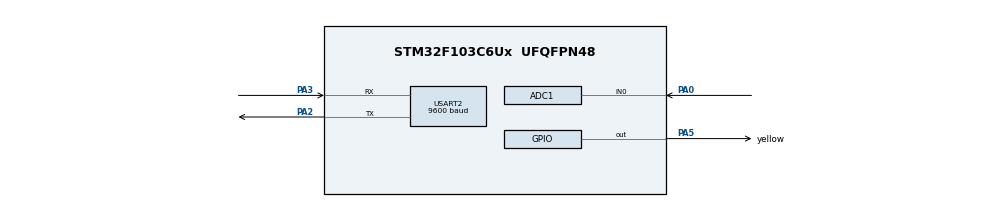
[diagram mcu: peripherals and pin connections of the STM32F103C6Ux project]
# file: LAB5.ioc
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ADC1.Channel-0\#ChannelRegularConversion=ADC_CHANNEL_0
ADC1.ContinuousConvMode=ENABLE
ADC1.NbrOfConversionFlag=1
ADC1.Rank-0\#ChannelRegularConversion=1
ADC1.SamplingTime-0\#ChannelRegularConversion=ADC_SAMPLETIME_1CYCLE_5
ADC1.master=1
Mcu.Family=STM32F1
Mcu.Name=STM32F103C6Ux
Mcu.Package=UFQFPN48
NVIC.PriorityGroup=NVIC_PRIORITYGROUP_4
NVIC.TIM2_IRQn=true\:0\:0\:false\:false\:true\:true\:true
NVIC.USART2_IRQn=true\:0\:0\:false\:false\:true\:true\:true
PA0-WKUP.Signal=ADCx_IN0
PA2.Mode=Asynchronous
PA2.Signal=USART2_TX
PA3.Mode=Asynchronous
PA3.Signal=USART2_RX
PA5.GPIO_Label=yellow
PA5.Signal=GPIO_Output
ProjectManager.HeapSize=0x200
ProjectManager.StackSize=0x400
ProjectManager.TargetToolchain=STM32CubeIDE
RCC.APB1Freq_Value=8000000
RCC.APB2Freq_Value=8000000
SH.ADCx_IN0.0=ADC1_IN0,IN0
TIM2.Period=9
TIM2.Prescaler=7999
USART2.BaudRate=9600
USART2.VirtualMode=VM_ASYNC
VP_SYS_VS_ND.Mode=No_Debug
VP_TIM2_VS_ClockSourceINT.Mode=Internal
board=custom

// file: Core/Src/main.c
/* USER CODE BEGIN Header */
/**
  ******************************************************************************
  * @file           : main.c
  * @brief          : Main program body
  ******************************************************************************
  * @attention
  *
  * <h2><center>&copy; Copyright (c) 2023 STMicroelectronics.
  * All rights reserved.</center></h2>
  *
  * This software component is licensed by ST under BSD 3-Clause license,
  * the "License"; You may not use this file except in compliance with the
  * License. You may obtain a copy of the License at:
  *                        opensource.org/licenses/BSD-3-Clause
  *
  ******************************************************************************
  */
/* USER CODE END Header */
#include "main.h"

/* USER CODE BEGIN Includes */
#include "fsm.h"
#include "software_timer.h"
/* USER CODE END Includes */

ADC_HandleTypeDef hadc1;

TIM_HandleTypeDef htim2;

UART_HandleTypeDef huart2;

void SystemClock_Config(void);
static void MX_GPIO_Init(void);
static void MX_ADC1_Init(void);
static void MX_USART2_UART_Init(void);
static void MX_TIM2_Init(void);

/* USER CODE BEGIN 0 */

void HAL_UART_RxCpltCallback(UART_HandleTypeDef *huart){
	if(huart->Instance == USART2){
		HAL_UART_Transmit(&huart2, &temp, 1, 500);
		buffer[index_buffer++] = temp;
		if(index_buffer == MAX_BUFFER_SIZE) index_buffer = 0;
		buffer_flag= 1;
		HAL_UART_Receive_IT(&huart2, &temp, 1);
	}
}
/* USER CODE END 0 */

int main(void)
{

  /* MCU Configuration--------------------------------------------------------*/

  /* Reset of all peripherals, Initializes the Flash interface and the Systick. */
  HAL_Init();

  /* Configure the system clock */
  SystemClock_Config();

  /* Initialize all configured peripherals */
  MX_GPIO_Init();
  MX_ADC1_Init();
  MX_USART2_UART_Init();
  MX_TIM2_Init();
  /* USER CODE BEGIN 2 */
  HAL_TIM_Base_Start_IT (&htim2);
  HAL_UART_Receive_IT(&huart2, &temp, 1);
  HAL_ADC_Start(&hadc1);
  /* USER CODE END 2 */

  /* Infinite loop */
  /* USER CODE BEGIN WHILE */
  while (1)
  {
	  if(buffer_flag == 1){
		  HAL_GPIO_TogglePin(yellow_GPIO_Port, yellow_Pin);
		  command_parser_fsm(&hadc1,&huart2);
		  buffer_flag = 0;
	  }
	  uart_communication_fsm(&hadc1,&huart2);
    /* USER CODE END WHILE */

  }
}

void SystemClock_Config(void)
{
  RCC_OscInitTypeDef RCC_OscInitStruct = {0};
  RCC_ClkInitTypeDef RCC_ClkInitStruct = {0};
  RCC_PeriphCLKInitTypeDef PeriphClkInit = {0};

  /** Initializes the RCC Oscillators according to the specified parameters
  * in the RCC_OscInitTypeDef structure.
  */
  RCC_OscInitStruct.OscillatorType = RCC_OSCILLATORTYPE_HSI;
  RCC_OscInitStruct.HSIState = RCC_HSI_ON;
  RCC_OscInitStruct.HSICalibrationValue = RCC_HSICALIBRATION_DEFAULT;
  RCC_OscInitStruct.PLL.PLLState = RCC_PLL_NONE;
  if (HAL_RCC_OscConfig(&RCC_OscInitStruct) != HAL_OK)
  {
    Error_Handler();
  }
  /** Initializes the CPU, AHB and APB buses clocks
  */
  RCC_ClkInitStruct.ClockType = RCC_CLOCKTYPE_HCLK|RCC_CLOCKTYPE_SYSCLK
                              |RCC_CLOCKTYPE_PCLK1|RCC_CLOCKTYPE_PCLK2;
  RCC_ClkInitStruct.SYSCLKSource = RCC_SYSCLKSOURCE_HSI;
  RCC_ClkInitStruct.AHBCLKDivider = RCC_SYSCLK_DIV1;
  RCC_ClkInitStruct.APB1CLKDivider = RCC_HCLK_DIV1;
  RCC_ClkInitStruct.APB2CLKDivider = RCC_HCLK_DIV1;

  if (HAL_RCC_ClockConfig(&RCC_ClkInitStruct, FLASH_LATENCY_0) != HAL_OK)
  {
    Error_Handler();
  }
  PeriphClkInit.PeriphClockSelection = RCC_PERIPHCLK_ADC;
  PeriphClkInit.AdcClockSelection = RCC_ADCPCLK2_DIV2;
  if (HAL_RCCEx_PeriphCLKConfig(&PeriphClkInit) != HAL_OK)
  {
    Error_Handler();
  }
}

static void MX_ADC1_Init(void)
{

  ADC_ChannelConfTypeDef sConfig = {0};

  /** Common config
  */
  hadc1.Instance = ADC1;
  hadc1.Init.ScanConvMode = ADC_SCAN_DISABLE;
  hadc1.Init.ContinuousConvMode = ENABLE;
  hadc1.Init.DiscontinuousConvMode = DISABLE;
  hadc1.Init.ExternalTrigConv = ADC_SOFTWARE_START;
  hadc1.Init.DataAlign = ADC_DATAALIGN_RIGHT;
  hadc1.Init.NbrOfConversion = 1;
  if (HAL_ADC_Init(&hadc1) != HAL_OK)
  {
    Error_Handler();
  }
  /** Configure Regular Channel
  */
  sConfig.Channel = ADC_CHANNEL_0;
  sConfig.Rank = ADC_REGULAR_RANK_1;
  sConfig.SamplingTime = ADC_SAMPLETIME_1CYCLE_5;
  if (HAL_ADC_ConfigChannel(&hadc1, &sConfig) != HAL_OK)
  {
    Error_Handler();
  }

}

static void MX_TIM2_Init(void)
{

  TIM_ClockConfigTypeDef sClockSourceConfig = {0};
  TIM_MasterConfigTypeDef sMasterConfig = {0};

  htim2.Instance = TIM2;
  htim2.Init.Prescaler = 7999;
  htim2.Init.CounterMode = TIM_COUNTERMODE_UP;
  htim2.Init.Period = 9;
  htim2.Init.ClockDivision = TIM_CLOCKDIVISION_DIV1;
  htim2.Init.AutoReloadPreload = TIM_AUTORELOAD_PRELOAD_DISABLE;
  if (HAL_TIM_Base_Init(&htim2) != HAL_OK)
  {
    Error_Handler();
  }
  sClockSourceConfig.ClockSource = TIM_CLOCKSOURCE_INTERNAL;
  if (HAL_TIM_ConfigClockSource(&htim2, &sClockSourceConfig) != HAL_OK)
  {
    Error_Handler();
  }
  sMasterConfig.MasterOutputTrigger = TIM_TRGO_RESET;
  sMasterConfig.MasterSlaveMode = TIM_MASTERSLAVEMODE_DISABLE;
  if (HAL_TIMEx_MasterConfigSynchronization(&htim2, &sMasterConfig) != HAL_OK)
  {
    Error_Handler();
  }

}

static void MX_USART2_UART_Init(void)
{

  huart2.Instance = USART2;
  huart2.Init.BaudRate = 9600;
  huart2.Init.WordLength = UART_WORDLENGTH_8B;
  huart2.Init.StopBits = UART_STOPBITS_1;
  huart2.Init.Parity = UART_PARITY_NONE;
  huart2.Init.Mode = UART_MODE_TX_RX;
  huart2.Init.HwFlowCtl = UART_HWCONTROL_NONE;
  huart2.Init.OverSampling = UART_OVERSAMPLING_16;
  if (HAL_UART_Init(&huart2) != HAL_OK)
  {
    Error_Handler();
  }

}

static void MX_GPIO_Init(void)
{
  GPIO_InitTypeDef GPIO_InitStruct = {0};

  /* GPIO Ports Clock Enable */
  __HAL_RCC_GPIOA_CLK_ENABLE();

  /*Configure GPIO pin Output Level */
  HAL_GPIO_WritePin(yellow_GPIO_Port, yellow_Pin, GPIO_PIN_RESET);

  /*Configure GPIO pin : yellow_Pin */
  GPIO_InitStruct.Pin = yellow_Pin;
  GPIO_InitStruct.Mode = GPIO_MODE_OUTPUT_PP;
  GPIO_InitStruct.Pull = GPIO_NOPULL;
  GPIO_InitStruct.Speed = GPIO_SPEED_FREQ_LOW;
  HAL_GPIO_Init(yellow_GPIO_Port, &GPIO_InitStruct);

}

/* USER CODE BEGIN 4 */
void HAL_TIM_PeriodElapsedCallback(TIM_HandleTypeDef *htim){
	timerRun();
}
/* USER CODE END 4 */

void Error_Handler(void)
{
  __disable_irq();
  while (1)
  {
  }
}

/************************ (C) COPYRIGHT STMicroelectronics *****END OF FILE****/
